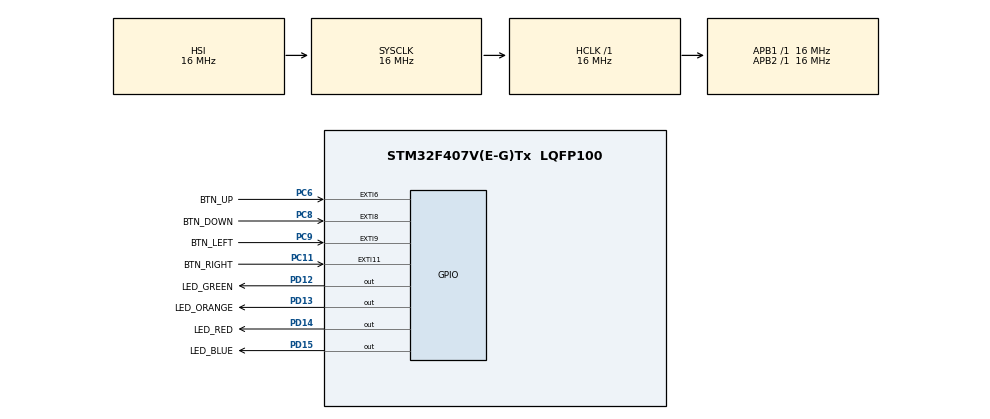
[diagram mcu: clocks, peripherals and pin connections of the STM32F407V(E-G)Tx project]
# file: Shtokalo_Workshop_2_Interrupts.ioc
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Mcu.Family=STM32F4
Mcu.Name=STM32F407V(E-G)Tx
Mcu.Package=LQFP100
NVIC.EXTI15_10_IRQn=true\:0\:0\:false\:false\:true\:true\:true
NVIC.EXTI9_5_IRQn=true\:0\:0\:false\:false\:true\:true\:true
NVIC.PriorityGroup=NVIC_PRIORITYGROUP_4
PC11.GPIO_Label=BTN_RIGHT
PC11.GPIO_ModeDefaultEXTI=GPIO_MODE_IT_FALLING
PC11.GPIO_PuPd=GPIO_NOPULL
PC11.Signal=GPXTI11
PC6.GPIO_Label=BTN_UP
PC6.GPIO_ModeDefaultEXTI=GPIO_MODE_IT_FALLING
PC6.GPIO_PuPd=GPIO_NOPULL
PC6.Signal=GPXTI6
PC8.GPIO_Label=BTN_DOWN
PC8.GPIO_ModeDefaultEXTI=GPIO_MODE_IT_FALLING
PC8.GPIO_PuPd=GPIO_NOPULL
PC8.Signal=GPXTI8
PC9.GPIO_Label=BTN_LEFT
PC9.GPIO_ModeDefaultEXTI=GPIO_MODE_IT_FALLING
PC9.GPIO_PuPd=GPIO_NOPULL
PC9.Signal=GPXTI9
PD12.GPIO_Label=LED_GREEN
PD12.Signal=GPIO_Output
PD13.GPIO_Label=LED_ORANGE
PD13.Signal=GPIO_Output
PD14.GPIO_Label=LED_RED
PD14.Signal=GPIO_Output
PD15.GPIO_Label=LED_BLUE
PD15.Signal=GPIO_Output
ProjectManager.HeapSize=0x200
ProjectManager.StackSize=0x400
ProjectManager.TargetToolchain=STM32CubeIDE
RCC.AHBFreq_Value=16000000
RCC.APB1Freq_Value=16000000
RCC.APB2Freq_Value=16000000
RCC.CortexFreq_Value=16000000
RCC.HSE_VALUE=25000000
RCC.HSI_VALUE=16000000
RCC.LSE_VALUE=32768
RCC.SYSCLKFreq_VALUE=16000000
RCC.VCOOutputFreq_Value=192000000
board=custom

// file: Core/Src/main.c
/* USER CODE BEGIN Header */
/**
  ******************************************************************************
  * @file           : main.c
  * @brief          : Main program body
  ******************************************************************************
  * @attention
  *
  * <h2><center>&copy; Copyright (c) 2021 STMicroelectronics.
  * All rights reserved.</center></h2>
  *
  * This software component is licensed by ST under BSD 3-Clause license,
  * the "License"; You may not use this file except in compliance with the
  * License. You may obtain a copy of the License at:
  *                        opensource.org/licenses/BSD-3-Clause
  *
  ******************************************************************************
  */
/* USER CODE END Header */
#include "main.h"

void SystemClock_Config(void);
static void MX_GPIO_Init(void);

int main(void)
{

  /* MCU Configuration--------------------------------------------------------*/

  /* Reset of all peripherals, Initializes the Flash interface and the Systick. */
  HAL_Init();

  /* Configure the system clock */
  SystemClock_Config();

  /* Initialize all configured peripherals */
  MX_GPIO_Init();

  /* Infinite loop */
  /* USER CODE BEGIN WHILE */
  ledStatus = 0;
  ledFrequency = 101;
  while (1)
  {
    /* USER CODE END WHILE */

    /* USER CODE BEGIN 3 */

	  HAL_Delay(ledFrequency);
	  if(ledStatus == 0){
	  	  HAL_GPIO_WritePin(GPIOD, LED_GREEN_Pin, GPIO_PIN_SET);
	  	  HAL_GPIO_WritePin(GPIOD, LED_ORANGE_Pin, GPIO_PIN_RESET);
	  	  HAL_GPIO_WritePin(GPIOD, LED_RED_Pin, GPIO_PIN_RESET);
	  	  HAL_GPIO_WritePin(GPIOD, LED_BLUE_Pin, GPIO_PIN_RESET);
	  }
	  else if (ledStatus == 1){
	  	  HAL_GPIO_WritePin(GPIOD, LED_GREEN_Pin, GPIO_PIN_SET);
	  	  HAL_GPIO_WritePin(GPIOD, LED_ORANGE_Pin, GPIO_PIN_SET);
	  	  HAL_GPIO_WritePin(GPIOD, LED_RED_Pin, GPIO_PIN_RESET);
	  	  HAL_GPIO_WritePin(GPIOD, LED_BLUE_Pin, GPIO_PIN_RESET);
	  }
	  else if (ledStatus == 2){
	  	  HAL_GPIO_WritePin(GPIOD, LED_GREEN_Pin, GPIO_PIN_SET);
	  	  HAL_GPIO_WritePin(GPIOD, LED_ORANGE_Pin, GPIO_PIN_SET);
	  	  HAL_GPIO_WritePin(GPIOD, LED_RED_Pin, GPIO_PIN_SET);
	  	  HAL_GPIO_WritePin(GPIOD, LED_BLUE_Pin, GPIO_PIN_RESET);
	  }
	  else if (ledStatus == 3){
	  	  HAL_GPIO_WritePin(GPIOD, LED_GREEN_Pin, GPIO_PIN_SET);
	  	  HAL_GPIO_WritePin(GPIOD, LED_ORANGE_Pin, GPIO_PIN_SET);
	  	  HAL_GPIO_WritePin(GPIOD, LED_RED_Pin, GPIO_PIN_SET);
	  	  HAL_GPIO_WritePin(GPIOD, LED_BLUE_Pin, GPIO_PIN_SET);
	  }

	  HAL_Delay(ledFrequency);

	  HAL_GPIO_WritePin(GPIOD, LED_GREEN_Pin, GPIO_PIN_RESET);
	  HAL_GPIO_WritePin(GPIOD, LED_ORANGE_Pin, GPIO_PIN_RESET);
	  HAL_GPIO_WritePin(GPIOD, LED_RED_Pin, GPIO_PIN_RESET);
	  HAL_GPIO_WritePin(GPIOD, LED_BLUE_Pin, GPIO_PIN_RESET);
  }
  /* USER CODE END 3 */
}

void SystemClock_Config(void)
{
  RCC_OscInitTypeDef RCC_OscInitStruct = {0};
  RCC_ClkInitTypeDef RCC_ClkInitStruct = {0};

  /** Configure the main internal regulator output voltage
  */
  __HAL_RCC_PWR_CLK_ENABLE();
  __HAL_PWR_VOLTAGESCALING_CONFIG(PWR_REGULATOR_VOLTAGE_SCALE1);
  /** Initializes the RCC Oscillators according to the specified parameters
  * in the RCC_OscInitTypeDef structure.
  */
  RCC_OscInitStruct.OscillatorType = RCC_OSCILLATORTYPE_HSI;
  RCC_OscInitStruct.HSIState = RCC_HSI_ON;
  RCC_OscInitStruct.HSICalibrationValue = RCC_HSICALIBRATION_DEFAULT;
  RCC_OscInitStruct.PLL.PLLState = RCC_PLL_NONE;
  if (HAL_RCC_OscConfig(&RCC_OscInitStruct) != HAL_OK)
  {
    Error_Handler();
  }
  /** Initializes the CPU, AHB and APB buses clocks
  */
  RCC_ClkInitStruct.ClockType = RCC_CLOCKTYPE_HCLK|RCC_CLOCKTYPE_SYSCLK
                              |RCC_CLOCKTYPE_PCLK1|RCC_CLOCKTYPE_PCLK2;
  RCC_ClkInitStruct.SYSCLKSource = RCC_SYSCLKSOURCE_HSI;
  RCC_ClkInitStruct.AHBCLKDivider = RCC_SYSCLK_DIV1;
  RCC_ClkInitStruct.APB1CLKDivider = RCC_HCLK_DIV1;
  RCC_ClkInitStruct.APB2CLKDivider = RCC_HCLK_DIV1;

  if (HAL_RCC_ClockConfig(&RCC_ClkInitStruct, FLASH_LATENCY_0) != HAL_OK)
  {
    Error_Handler();
  }
}

static void MX_GPIO_Init(void)
{
  GPIO_InitTypeDef GPIO_InitStruct = {0};

  /* GPIO Ports Clock Enable */
  __HAL_RCC_GPIOD_CLK_ENABLE();
  __HAL_RCC_GPIOC_CLK_ENABLE();

  /*Configure GPIO pin Output Level */
  HAL_GPIO_WritePin(GPIOD, LED_GREEN_Pin|LED_ORANGE_Pin|LED_RED_Pin|LED_BLUE_Pin, GPIO_PIN_RESET);

  /*Configure GPIO pins : LED_GREEN_Pin LED_ORANGE_Pin LED_RED_Pin LED_BLUE_Pin */
  GPIO_InitStruct.Pin = LED_GREEN_Pin|LED_ORANGE_Pin|LED_RED_Pin|LED_BLUE_Pin;
  GPIO_InitStruct.Mode = GPIO_MODE_OUTPUT_PP;
  GPIO_InitStruct.Pull = GPIO_NOPULL;
  GPIO_InitStruct.Speed = GPIO_SPEED_FREQ_LOW;
  HAL_GPIO_Init(GPIOD, &GPIO_InitStruct);

  /*Configure GPIO pins : BTN_UP_Pin BTN_DOWN_Pin BTN_LEFT_Pin BTN_RIGHT_Pin */
  GPIO_InitStruct.Pin = BTN_UP_Pin|BTN_DOWN_Pin|BTN_LEFT_Pin|BTN_RIGHT_Pin;
  GPIO_InitStruct.Mode = GPIO_MODE_IT_FALLING;
  GPIO_InitStruct.Pull = GPIO_NOPULL;
  HAL_GPIO_Init(GPIOC, &GPIO_InitStruct);

  /* EXTI interrupt init*/
  HAL_NVIC_SetPriority(EXTI9_5_IRQn, 0, 0);
  HAL_NVIC_EnableIRQ(EXTI9_5_IRQn);

  HAL_NVIC_SetPriority(EXTI15_10_IRQn, 0, 0);
  HAL_NVIC_EnableIRQ(EXTI15_10_IRQn);

}

void Error_Handler(void)
{
  __disable_irq();
  while (1)
  {
  }
}

/************************ (C) COPYRIGHT STMicroelectronics *****END OF FILE****/
